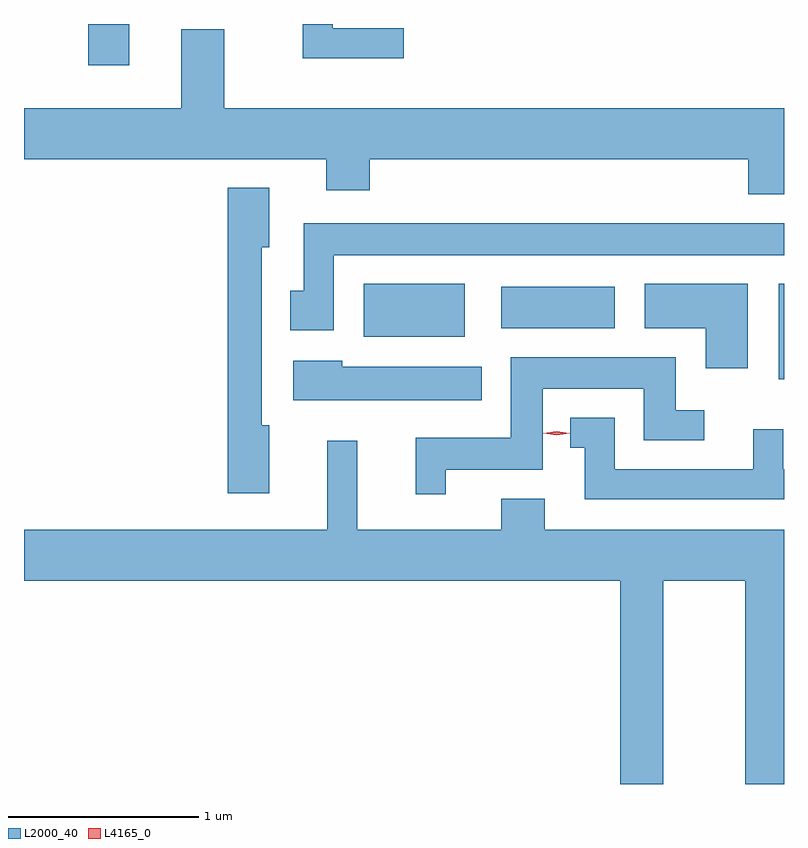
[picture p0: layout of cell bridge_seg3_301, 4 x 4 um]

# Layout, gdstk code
import gdstk
lib = gdstk.Library(unit=1e-6, precision=1e-09)
def R(c, l, rs):  # rectangles x0, y0, x1, y1
    for r in rs: c.add(gdstk.rectangle(r[:2], r[2:], *l))
def P(c, l, *ps):  # polygons
    for p in ps: c.add(gdstk.Polygon(p, *l))
L2000_40 = (2000, 40)
L4165_0 = (4165, 0)

bridge_seg3_301 = lib.new_cell('bridge_seg3_301')
R(bridge_seg3_301, L2000_40, [(613.351,1235.856,613.379,1236.359), (611.166,1236.081,611.699,1236.359), (611.891,1236.126,612.489,1236.344), (609.716,1237.511,609.934,1237.727)])
P(bridge_seg3_301, L2000_40, [(611.378,1237.704),(611.004,1237.704),(611.004,1237.727),(610.846,1237.727),(610.846,1237.546),(611.378,1237.546)],
  [(613.379,1237.284),(610.434,1237.284),(610.434,1237.699),(610.206,1237.699),(610.206,1237.284),(609.379,1237.284),(609.379,1237.016),(610.971,1237.016),(610.971,1236.851),(611.199,1236.851),(611.199,1237.016),(613.191,1237.016),(613.191,1236.831),(613.379,1236.831)],
  [(610.669,1235.614),(610.629,1235.614),(610.629,1236.551),(610.669,1236.551),(610.669,1236.864),(610.451,1236.864),(610.451,1235.256),(610.669,1235.256)],
  [(611.009,1236.511),(613.379,1236.511),(613.379,1236.679),(610.851,1236.679),(610.851,1236.324),(610.781,1236.324),(610.781,1236.116),(611.009,1236.116)],
  [(613.189,1236.359),(612.646,1236.359),(612.646,1236.126),(612.966,1236.126),(612.966,1235.916),(613.189,1235.916)],
  [(611.599,1235.381),(612.109,1235.381),(612.109,1235.806),(612.641,1235.806),(612.641,1235.536),(612.958,1235.536),(612.958,1235.694),(612.809,1235.694),(612.809,1235.974),(611.941,1235.974),(611.941,1235.549),(611.441,1235.549),(611.441,1235.253),(611.599,1235.253)],
  [(611.789,1235.924),(611.054,1235.924),(611.054,1235.954),(610.796,1235.954),(610.796,1235.746),(611.789,1235.746)],
  [(613.379,1235.384),(613.374,1235.384),(613.374,1235.593),(613.216,1235.593),(613.216,1235.384),(612.489,1235.384),(612.489,1235.654),(612.253,1235.654),(612.253,1235.496),(612.331,1235.496),(612.331,1235.226),(613.379,1235.226)],
  [(612.744,1234.796),(613.176,1234.796),(613.176,1233.727),(613.379,1233.727),(613.379,1235.064),(612.119,1235.064),(612.119,1235.229),(611.891,1235.229),(611.891,1235.064),(611.134,1235.064),(611.134,1235.533),(610.976,1235.533),(610.976,1235.064),(609.379,1235.064),(609.379,1234.796),(612.516,1234.796),(612.516,1233.727),(612.744,1233.727)])
P(bridge_seg3_301, L4165_0, [(612.182,1235.563),(612.112,1235.572),(612.112,1235.573),(612.112,1235.573),(612.182,1235.583),(612.251,1235.573),(612.251,1235.573),(612.251,1235.572)])

lib.write_gds('bridge_seg3_301.gds')
